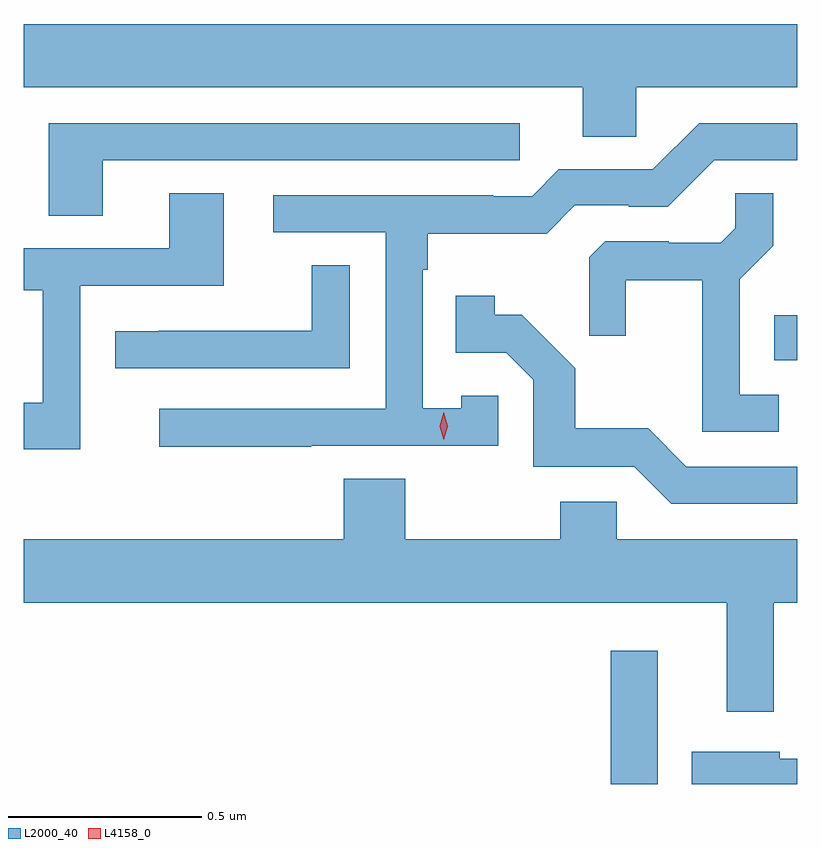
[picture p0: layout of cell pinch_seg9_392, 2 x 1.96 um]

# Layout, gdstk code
import gdstk
lib = gdstk.Library(unit=1e-6, precision=1e-09)
def R(c, l, rs):  # rectangles x0, y0, x1, y1
    for r in rs: c.add(gdstk.rectangle(r[:2], r[2:], *l))
def P(c, l, *ps):  # polygons
    for p in ps: c.add(gdstk.Polygon(p, *l))
L2000_40 = (2000, 40)
L4158_0 = (4158, 0)

pinch_seg9_392 = lib.new_cell('pinch_seg9_392')
R(pinch_seg9_392, L2000_40, [(383.94,1242.572,384.061,1242.916), (384.362,1243.667,384.422,1243.783)])
P(pinch_seg9_392, L2000_40, [(384.006,1244.372),(384.422,1244.372),(384.422,1244.536),(382.422,1244.536),(382.422,1244.372),(383.867,1244.372),(383.867,1244.245),(384.006,1244.245)],
  [(382.627,1244.184),(383.704,1244.184),(383.704,1244.28),(382.487,1244.28),(382.487,1244.041),(382.627,1244.041)],
  [(383.165,1243.446),(383.649,1243.446),(383.649,1243.575),(383.553,1243.575),(383.553,1243.543),(383.454,1243.543),(383.454,1243.901),(383.467,1243.901),(383.467,1243.994),(383.774,1243.994),(383.847,1244.067),(383.986,1244.067),(383.986,1244.064),(384.087,1244.064),(384.207,1244.184),(384.422,1244.184),(384.422,1244.28),(384.168,1244.28),(384.048,1244.16),(383.805,1244.16),(383.736,1244.091),(383.636,1244.091),(383.636,1244.094),(383.067,1244.094),(383.067,1243.998),(383.358,1243.998),(383.358,1243.542),(382.773,1243.542),(382.773,1243.444),(383.165,1243.444)],
  [(382.569,1243.86),(382.939,1243.86),(382.939,1244.099),(382.799,1244.099),(382.799,1243.956),(382.422,1243.956),(382.422,1243.848),(382.472,1243.848),(382.472,1243.557),(382.422,1243.557),(382.422,1243.437),(382.569,1243.437)],
  [(384.373,1243.578),(384.273,1243.578),(384.273,1243.877),(384.359,1243.963),(384.359,1244.099),(384.261,1244.099),(384.261,1244.008),(384.224,1243.971),(384.09,1243.971),(384.09,1243.974),(383.925,1243.974),(383.884,1243.933),(383.884,1243.731),(383.978,1243.731),(383.978,1243.874),(384.176,1243.874),(384.176,1243.482),(384.373,1243.482)],
  [(383.265,1243.913),(383.167,1243.913),(383.167,1243.743),(382.771,1243.743),(382.771,1243.742),(382.659,1243.742),(382.659,1243.647),(383.265,1243.647)],
  [(384.422,1243.392),(384.135,1243.392),(384.037,1243.491),(383.848,1243.491),(383.848,1243.646),(383.71,1243.784),(383.64,1243.784),(383.64,1243.834),(383.539,1243.834),(383.539,1243.686),(383.67,1243.686),(383.739,1243.617),(383.739,1243.392),(384,1243.392),(384.096,1243.296),(384.422,1243.296)],
  [(384.361,1243.04),(384.422,1243.04),(384.422,1243.204),(383.955,1243.204),(383.955,1243.302),(383.809,1243.302),(383.809,1243.204),(383.409,1243.204),(383.409,1243.361),(383.249,1243.361),(383.249,1243.204),(382.422,1243.204),(382.422,1243.04),(384.239,1243.04),(384.239,1242.759),(384.361,1242.759)],
  [(384.422,1242.637),(384.376,1242.637),(384.376,1242.655),(384.149,1242.655),(384.149,1242.572),(384.422,1242.572)])
P(pinch_seg9_392, L4158_0, [(383.508,1243.461),(383.508,1243.461),(383.498,1243.497),(383.508,1243.533),(383.508,1243.533),(383.508,1243.533),(383.518,1243.497),(383.508,1243.461)])

lib.write_gds('pinch_seg9_392.gds')
